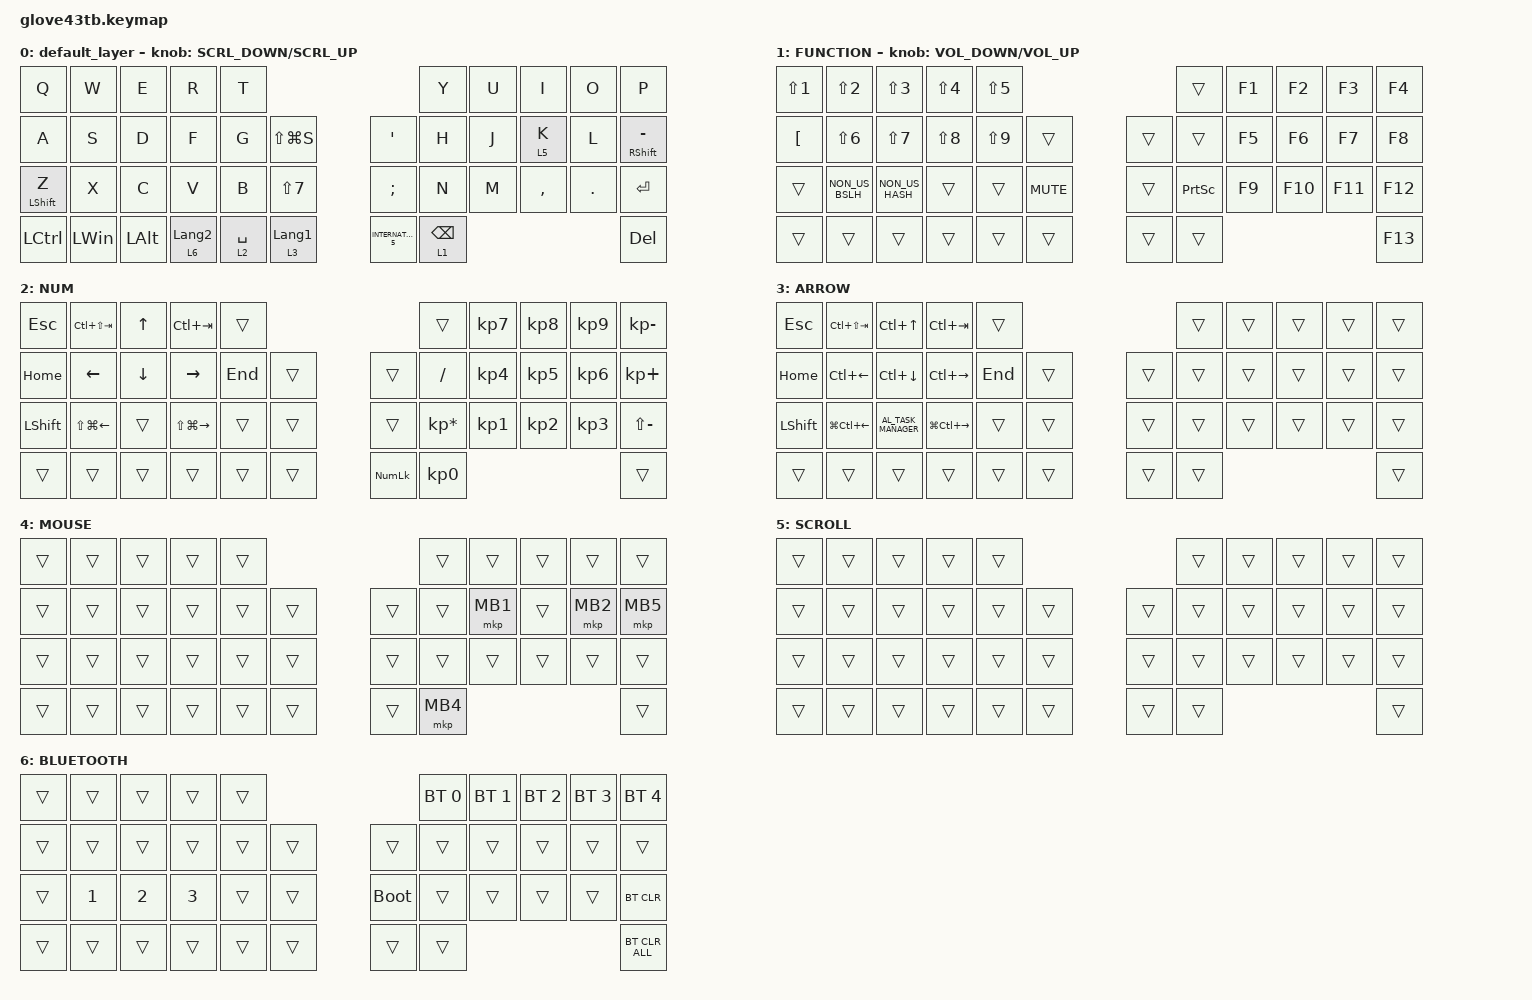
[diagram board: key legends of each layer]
#define ZMK_POINTING_DEFAULT_SCRL_VAL 150

#include <behaviors/rgbled_widget.dtsi>
#include <dt-bindings/zmk/input_transform.h>
#include <input/processors.dtsi>
#include <zephyr/dt-bindings/input/input-event-codes.h>
#include <behaviors.dtsi>
#include <dt-bindings/zmk/bt.h>
#include <dt-bindings/zmk/keys.h>
#include <dt-bindings/zmk/pointing.h>

&mt {
    flavor = "balanced";
    quick-tap-ms = <0>;
};

&mmv {
    delay-ms = <20>;
    trigger-period-ms = <5>;
    time-to-max-speed-ms = <100>;
    acceleration-exponent = <2>;
};

&msc {
    delay-ms = <3>;
    trigger-period-ms = <3>;
    time-to-max-speed-ms = <100>;
    acceleration-exponent = <0>;
};

/ {
    input_processors {
        zip_wheel_scaler: zip_wheel_scaler {
            compatible = "zmk,input-processor-scaler";
            #input-processor-cells = <2>;
            type = <INPUT_EV_REL>;
            codes = <INPUT_REL_WHEEL>;
            track-remainders;
        };
    };
};

/ {
    combos {
        compatible = "zmk,combos";

        tab {
            bindings = <&kp TAB>;
            key-positions = <11 12>;
        };

        shift_tab {
            bindings = <&kp LS(TAB)>;
            key-positions = <12 13>;
        };

        leftclick {
            bindings = <&mkp MB1>;
            key-positions = <18 19>;
        };

        rightclick {
            bindings = <&mkp MB2>;
            key-positions = <19 20>;
        };
    };

    macros {
        to_layer_0: to_layer_0 {
            compatible = "zmk,behavior-macro-one-param";
            #binding-cells = <1>;
            bindings = <&to 0 &macro_param_1to1 &kp MACRO_PLACEHOLDER>;
            label = "TO_LAYER_0";
        };
    };

    behaviors {
        lt_to_layer_0: lt_to_layer_0 {
            compatible = "zmk,behavior-hold-tap";
            label = "LAYER_TAP_TO_0";
            bindings = <&mo>, <&to_layer_0>;

            #binding-cells = <2>;
            tapping-term-ms = <200>;
        };

        sensor_rotate_kp: sensor_rotate_kp {
            compatible = "zmk,behavior-sensor-rotate-var";
            #sensor-binding-cells = <2>;
            bindings = <&kp>, <&kp>;
        };

        mouse_wheel_scroll: mouse_wheel_scroll {
            compatible = "zmk,behavior-sensor-rotate-var";
            #sensor-binding-cells = <2>;
            bindings = <&msc>, <&msc>;

            tap-ms = <20>;
        };
    };

    keymap {
        compatible = "zmk,keymap";

        default_layer {
            bindings = <
&kp Q             &kp W         &kp E         &kp R                        &kp T                                                              &kp Y            &kp U  &kp I      &kp O    &kp P
&kp A             &kp S         &kp D         &kp F                        &kp G        &kp LS(LG(S))                    &kp APOS             &kp H            &kp J  &lt 5 K    &kp L    &mt RIGHT_SHIFT MINUS
&mt LEFT_SHIFT Z  &kp X         &kp C         &kp V                        &kp B        &kp LS(NUMBER_7)                 &kp SEMICOLON        &kp N            &kp M  &kp COMMA  &kp DOT  &kp ENTER
&kp LCTRL         &kp LEFT_WIN  &kp LEFT_ALT  &lt_to_layer_0 6 LANGUAGE_2  &lt 2 SPACE  &lt_to_layer_0 3 LANGUAGE_1      &kp INTERNATIONAL_5  &lt 1 BACKSPACE                             &kp DEL
            >;

            sensor-bindings = <&mouse_wheel_scroll SCRL_DOWN SCRL_UP>;
        };

        FUNCTION {
            bindings = <
&kp LS(NUMBER_1)  &kp LS(NUMBER_2)  &kp LS(NUMBER_3)  &kp LS(NUMBER_4)  &kp LS(NUMBER_5)                          &trans           &kp F1  &kp F2   &kp F3   &kp F4
&kp LEFT_BRACKET  &kp LS(NUMBER_6)  &kp LS(NUMBER_7)  &kp LS(NUMBER_8)  &kp LS(NUMBER_9)  &trans          &trans  &trans           &kp F5  &kp F6   &kp F7   &kp F8
&trans            &kp NON_US_BSLH   &kp NON_US_HASH   &trans            &trans            &kp C_MUTE      &trans  &kp PRINTSCREEN  &kp F9  &kp F10  &kp F11  &kp F12
&trans            &trans            &trans            &trans            &trans            &trans          &trans  &trans                                     &kp F13
            >;

            sensor-bindings = <&sensor_rotate_kp C_VOLUME_DOWN C_VOLUME_UP>;
        };

        NUM {
            bindings = <
&kp ESCAPE      &kp LC(LS(TAB))         &kp UP_ARROW    &kp LC(TAB)        &trans                               &trans           &kp KP_NUMBER_7  &kp KP_NUMBER_8  &kp KP_NUMBER_9  &kp KP_MINUS
&kp HOME        &kp LEFT_ARROW          &kp DOWN_ARROW  &kp RIGHT          &kp END  &trans      &trans          &kp SLASH        &kp KP_NUMBER_4  &kp KP_NUMBER_5  &kp KP_NUMBER_6  &kp KP_PLUS
&kp LEFT_SHIFT  &kp LS(LG(LEFT_ARROW))  &trans          &kp LS(LG(RIGHT))  &trans   &trans      &trans          &kp KP_MULTIPLY  &kp KP_NUMBER_1  &kp KP_NUMBER_2  &kp KP_NUMBER_3  &kp LS(MINUS)
&trans          &trans                  &trans          &trans             &trans   &trans      &kp KP_NUMLOCK  &kp KP_NUMBER_0                                                     &trans
            >;
        };

        ARROW {
            bindings = <
&kp ESCAPE      &kp LC(LS(TAB))         &kp LC(UP_ARROW)       &kp LC(TAB)              &trans                       &trans  &trans  &trans  &trans  &trans
&kp HOME        &kp LC(LEFT_ARROW)      &kp LC(DOWN_ARROW)     &kp LC(RIGHT_ARROW)      &kp END  &trans      &trans  &trans  &trans  &trans  &trans  &trans
&kp LEFT_SHIFT  &kp LG(LC(LEFT_ARROW))  &kp C_AL_TASK_MANAGER  &kp LG(LC(RIGHT_ARROW))  &trans   &trans      &trans  &trans  &trans  &trans  &trans  &trans
&trans          &trans                  &trans                 &trans                   &trans   &trans      &trans  &trans                          &trans
            >;
        };

        MOUSE {
            bindings = <
&trans  &trans  &trans  &trans  &trans                      &trans    &trans    &trans  &trans    &trans
&trans  &trans  &trans  &trans  &trans  &trans      &trans  &trans    &mkp MB1  &trans  &mkp MB2  &mkp MB5
&trans  &trans  &trans  &trans  &trans  &trans      &trans  &trans    &trans    &trans  &trans    &trans
&trans  &trans  &trans  &trans  &trans  &trans      &trans  &mkp MB4                              &trans
            >;
        };

        SCROLL {
            bindings = <
&trans  &trans  &trans  &trans  &trans                      &trans  &trans  &trans  &trans  &trans
&trans  &trans  &trans  &trans  &trans  &trans      &trans  &trans  &trans  &trans  &trans  &trans
&trans  &trans  &trans  &trans  &trans  &trans      &trans  &trans  &trans  &trans  &trans  &trans
&trans  &trans  &trans  &trans  &trans  &trans      &trans  &trans                          &trans
            >;
        };

        BLUETOOTH {
            bindings = <
&trans  &trans        &trans        &trans        &trans                           &bt BT_SEL 0  &bt BT_SEL 1  &bt BT_SEL 2  &bt BT_SEL 3  &bt BT_SEL 4
&trans  &trans        &trans        &trans        &trans  &trans      &trans       &trans        &trans        &trans        &trans        &trans
&trans  &kp NUMBER_1  &kp NUMBER_2  &kp NUMBER_3  &trans  &trans      &bootloader  &trans        &trans        &trans        &trans        &bt BT_CLR
&trans  &trans        &trans        &trans        &trans  &trans      &trans       &trans                                                  &bt BT_CLR_ALL
            >;
        };
    };
};
